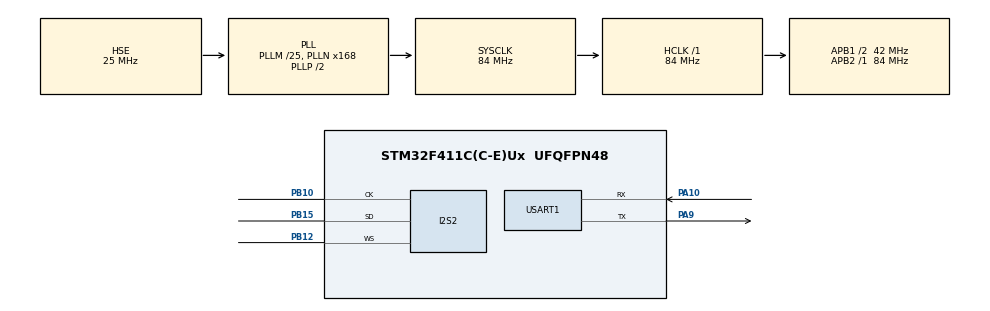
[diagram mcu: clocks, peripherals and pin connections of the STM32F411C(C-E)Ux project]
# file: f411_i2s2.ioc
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Dma.Request0=SPI2_TX
Dma.SPI2_TX.0.Direction=DMA_MEMORY_TO_PERIPH
Dma.SPI2_TX.0.FIFOMode=DMA_FIFOMODE_DISABLE
Dma.SPI2_TX.0.Instance=DMA1_Stream4
Dma.SPI2_TX.0.MemDataAlignment=DMA_MDATAALIGN_HALFWORD
Dma.SPI2_TX.0.MemInc=DMA_MINC_ENABLE
Dma.SPI2_TX.0.Mode=DMA_NORMAL
Dma.SPI2_TX.0.PeriphDataAlignment=DMA_PDATAALIGN_HALFWORD
Dma.SPI2_TX.0.PeriphInc=DMA_PINC_DISABLE
Dma.SPI2_TX.0.Priority=DMA_PRIORITY_VERY_HIGH
I2S2.ErrorAudioFreq=0.0 %
I2S2.FullDuplexMode=I2S_FULLDUPLEXMODE_DISABLE
I2S2.Instance=SPI$Index
I2S2.RealAudioFreq=8.0 KHz
I2S2.VirtualMode=I2S_MODE_MASTER
Mcu.Family=STM32F4
Mcu.Name=STM32F411C(C-E)Ux
Mcu.Package=UFQFPN48
NVIC.DMA1_Stream4_IRQn=true\:0\:0\:false\:false\:true\:false\:true
NVIC.PriorityGroup=NVIC_PRIORITYGROUP_4
NVIC.SPI2_IRQn=true\:0\:0\:false\:false\:true\:true\:true
PA10.Mode=Asynchronous
PA10.Signal=USART1_RX
PA9.Mode=Asynchronous
PA9.Signal=USART1_TX
PB10.Mode=Half_Duplex_Master
PB10.Signal=I2S2_CK
PB12.Mode=Half_Duplex_Master
PB12.Signal=I2S2_WS
PB15.Mode=Half_Duplex_Master
PB15.Signal=I2S2_SD
PC14-OSC32_IN.Mode=LSE-External-Oscillator
PC14-OSC32_IN.Signal=RCC_OSC32_IN
PC15-OSC32_OUT.Mode=LSE-External-Oscillator
PC15-OSC32_OUT.Signal=RCC_OSC32_OUT
PH0\ -\ OSC_IN.Mode=HSE-External-Oscillator
PH0\ -\ OSC_IN.Signal=RCC_OSC_IN
PH1\ -\ OSC_OUT.Mode=HSE-External-Oscillator
PH1\ -\ OSC_OUT.Signal=RCC_OSC_OUT
ProjectManager.HeapSize=0x200
ProjectManager.StackSize=0x400
ProjectManager.TargetToolchain=STM32CubeIDE
RCC.48MHZClocksFreq_Value=42000000
RCC.AHBFreq_Value=84000000
RCC.APB1CLKDivider=RCC_HCLK_DIV2
RCC.APB1Freq_Value=42000000
RCC.APB1TimFreq_Value=84000000
RCC.APB2Freq_Value=84000000
RCC.APB2TimFreq_Value=84000000
RCC.CortexFreq_Value=84000000
RCC.HCLKFreq_Value=84000000
RCC.HSE_VALUE=25000000
RCC.HSI_VALUE=16000000
RCC.PLLI2SM=25
RCC.PLLM=25
RCC.PLLN=168
RCC.PLLSourceVirtual=RCC_PLLSOURCE_HSE
RCC.SYSCLKFreq_VALUE=84000000
RCC.SYSCLKSource=RCC_SYSCLKSOURCE_PLLCLK
RCC.VCOOutputFreq_Value=168000000
RCC.VDD_VALUE=3.6
USART1.VirtualMode=VM_ASYNC
board=custom

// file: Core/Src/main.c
/* USER CODE BEGIN Header */
/**
  ******************************************************************************
  * @file           : main.c
  * @brief          : Main program body
  ******************************************************************************
  * @attention
  *
  * Copyright (c) 2023 STMicroelectronics.
  * All rights reserved.
  *
  * This software is licensed under terms that can be found in the LICENSE file
  * in the root directory of this software component.
  * If no LICENSE file comes with this software, it is provided AS-IS.
  *
  ******************************************************************************
  */
/* USER CODE END Header */
#include "main.h"

I2S_HandleTypeDef hi2s2;
DMA_HandleTypeDef hdma_spi2_tx;

UART_HandleTypeDef huart1;

void SystemClock_Config(void);
static void MX_GPIO_Init(void);
static void MX_USART1_UART_Init(void);
static void MX_DMA_Init(void);
static void MX_I2S2_Init(void);

/* USER CODE BEGIN 0 */
#include "ogg/ivorbiscodec.h"
#include "ogg/ivorbisfile.h"
void Serialprint(const char *c)
{
	 HAL_UART_Transmit(&huart1, c, strlen(c),100);
}
void Serialprintlong(long n)
{
	 char c[10];
	 sprintf(c, "%lu", n);
	 Serialprint(c);

}

void Serialprinthex(long n)
{
	 char c[10];
	 sprintf(c, "%4x", n);
	 Serialprint(c);

}

/* USER CODE BEGIN PV */

//Tx Transfer Half completed callbacks.

 char dma_run=0;

 /* USER CODE END 0 */

int main(void)
{

  /* MCU Configuration--------------------------------------------------------*/

  /* Reset of all peripherals, Initializes the Flash interface and the Systick. */
  HAL_Init();

  /* Configure the system clock */
  SystemClock_Config();

  /* Initialize all configured peripherals */
  MX_GPIO_Init();
  MX_USART1_UART_Init();
  MX_DMA_Init();
  MX_I2S2_Init();
  /* USER CODE BEGIN 2 */

#include "myaudio.h"

Serialprint("Start.\n\r");

  OggVorbis_File vf;
  int current_section;

  /* USER CODE END 2 */

  /* Infinite loop */
  /* USER CODE BEGIN WHILE */
  uint16_t *buf;
  uint16_t pcmout_audio[2048*4];

  buf=malloc(sizeof(pcmout_audio));
  char ifdma=0;
while (1)
  {
      FILE *f;
      f=fmemopen(file_ogg, sizeof(file_ogg), "r"); //open file from mem
//      f=fopen(file_ogg, "\play.ogg", "r"); //open file from file system
	  if(ov_open(f, &vf, NULL, 0) < 0) {
	      Serialprint("Input does not appear to be an Ogg bitstream.\n\r\r");
	      exit(1);
	  }
	    Serialprint("opn okm.\n\r\r");
	    char **ptr=ov_comment(&vf,-1)->user_comments;
	    vorbis_info *vi=ov_info(&vf,-1);

	    Serialprintlong(vi->channels);Serialprint(":channels\r\n");
	    Serialprintlong(vi->rate);	    Serialprint(":rate\r\n");
	    Serialprintlong( (long)ov_pcm_total(&vf,-1));
	    Serialprint(":pcm_total\r\n");
	    Serialprint((long)ov_comment(&vf,-1)->vendor);
	    Serialprint("\r\nOgg file OK\r\n");

	    {

	       Serialprint(":strart play\r\n");
	       uint16_t pcmout[1024];

	 	   long len_oggread=0;
	 	   while(1)
	 	     {
	 		      long len=0;
				  while ((sizeof(pcmout_audio)>>1)-len>=len_oggread)
				   {

					  if (len_oggread>0)
					  	{

						  if (vi->channels==2) //if stereo
						  {
							memcpy(pcmout_audio+len,pcmout,len_oggread*2);
							len+=len_oggread;
						  }else
							  {

							   long level=0;
							   for (long i=0;i<len_oggread;i++)
								{
								  if(level<pcmout[i])level=pcmout[i];

								}

							   for (long i=0;i<len_oggread;i++)
								{
								  pcmout_audio[i*2+len]=(0xffff/level*pcmout[i]);
								  pcmout_audio[i*2+1+len]=(0xffff/level*pcmout[i]);
								  /*
								  Serialprintlong(pcmout[i]);
								  Serialprint("::");
								  Serialprintlong(pcmout_audio[i*2+len]);
								  Serialprint("\r\n");*/
								}
							   len+=len_oggread*2;
							  }
					  	}
					  len_oggread=ov_read(&vf,pcmout,sizeof(pcmout)<<1,&current_section);
					  if (len_oggread>0)
					   {
						len_oggread=len_oggread>>1;;//if not stereo
					    if ((sizeof(pcmout_audio)>>1)-len<len_oggread)break;
					   }else  if(len_oggread==0)break;
				 }
               if(len>0)
                 {
            	  if (ifdma==1)
            	   {
    	 	        while (dma_run!=0)HAL_Delay(1);
    	 	        dma_run=1;
    	 	        memcpy(buf,pcmout_audio,len*2);
 	    	        HAL_I2S_Transmit_DMA(&hi2s2,buf,len);//sizeof(pcmout_audio)/2);
                 }else
            	  {
	 	              while (HAL_I2S_GetState(&hi2s2)!=HAL_I2S_STATE_READY)HAL_Delay(1);
	                  HAL_I2S_Transmit(&hi2s2,pcmout_audio,len,10);

                 }
            	  len=0;
                 }else break;
	 	     }
	 	ov_clear(&vf);
	 	fclose(f);

	    Serialprint(":end play\r\n");
	    HAL_Delay(1000);

	}
    /* USER CODE END WHILE */

  }
}

void SystemClock_Config(void)
{
  RCC_OscInitTypeDef RCC_OscInitStruct = {0};
  RCC_ClkInitTypeDef RCC_ClkInitStruct = {0};

  /** Configure the main internal regulator output voltage
  */
  __HAL_RCC_PWR_CLK_ENABLE();
  __HAL_PWR_VOLTAGESCALING_CONFIG(PWR_REGULATOR_VOLTAGE_SCALE1);
  /** Initializes the RCC Oscillators according to the specified parameters
  * in the RCC_OscInitTypeDef structure.
  */
  RCC_OscInitStruct.OscillatorType = RCC_OSCILLATORTYPE_HSE;
  RCC_OscInitStruct.HSEState = RCC_HSE_ON;
  RCC_OscInitStruct.PLL.PLLState = RCC_PLL_ON;
  RCC_OscInitStruct.PLL.PLLSource = RCC_PLLSOURCE_HSE;
  RCC_OscInitStruct.PLL.PLLM = 25;
  RCC_OscInitStruct.PLL.PLLN = 168;
  RCC_OscInitStruct.PLL.PLLP = RCC_PLLP_DIV2;
  RCC_OscInitStruct.PLL.PLLQ = 4;
  if (HAL_RCC_OscConfig(&RCC_OscInitStruct) != HAL_OK)
  {
    Error_Handler();
  }
  /** Initializes the CPU, AHB and APB buses clocks
  */
  RCC_ClkInitStruct.ClockType = RCC_CLOCKTYPE_HCLK|RCC_CLOCKTYPE_SYSCLK
                              |RCC_CLOCKTYPE_PCLK1|RCC_CLOCKTYPE_PCLK2;
  RCC_ClkInitStruct.SYSCLKSource = RCC_SYSCLKSOURCE_PLLCLK;
  RCC_ClkInitStruct.AHBCLKDivider = RCC_SYSCLK_DIV1;
  RCC_ClkInitStruct.APB1CLKDivider = RCC_HCLK_DIV2;
  RCC_ClkInitStruct.APB2CLKDivider = RCC_HCLK_DIV1;

  if (HAL_RCC_ClockConfig(&RCC_ClkInitStruct, FLASH_LATENCY_2) != HAL_OK)
  {
    Error_Handler();
  }
}

static void MX_I2S2_Init(void)
{

  hi2s2.Instance = SPI2;
  hi2s2.Init.Mode = I2S_MODE_MASTER_TX;
  hi2s2.Init.Standard = I2S_STANDARD_PHILIPS;
  hi2s2.Init.DataFormat = I2S_DATAFORMAT_16B;
  hi2s2.Init.MCLKOutput = I2S_MCLKOUTPUT_DISABLE;
  hi2s2.Init.AudioFreq = I2S_AUDIOFREQ_8K;
  hi2s2.Init.CPOL = I2S_CPOL_LOW;
  hi2s2.Init.ClockSource = I2S_CLOCK_PLL;
  hi2s2.Init.FullDuplexMode = I2S_FULLDUPLEXMODE_DISABLE;
  if (HAL_I2S_Init(&hi2s2) != HAL_OK)
  {
    Error_Handler();
  }

}

static void MX_USART1_UART_Init(void)
{

  huart1.Instance = USART1;
  huart1.Init.BaudRate = 115200;
  huart1.Init.WordLength = UART_WORDLENGTH_8B;
  huart1.Init.StopBits = UART_STOPBITS_1;
  huart1.Init.Parity = UART_PARITY_NONE;
  huart1.Init.Mode = UART_MODE_TX_RX;
  huart1.Init.HwFlowCtl = UART_HWCONTROL_NONE;
  huart1.Init.OverSampling = UART_OVERSAMPLING_16;
  if (HAL_UART_Init(&huart1) != HAL_OK)
  {
    Error_Handler();
  }

}

static void MX_DMA_Init(void)
{

  /* DMA controller clock enable */
  __HAL_RCC_DMA1_CLK_ENABLE();

  /* DMA interrupt init */
  /* DMA1_Stream4_IRQn interrupt configuration */
  HAL_NVIC_SetPriority(DMA1_Stream4_IRQn, 0, 0);
  HAL_NVIC_EnableIRQ(DMA1_Stream4_IRQn);

}

static void MX_GPIO_Init(void)
{

  /* GPIO Ports Clock Enable */
  __HAL_RCC_GPIOC_CLK_ENABLE();
  __HAL_RCC_GPIOH_CLK_ENABLE();
  __HAL_RCC_GPIOB_CLK_ENABLE();
  __HAL_RCC_GPIOA_CLK_ENABLE();

}

/* USER CODE BEGIN 4 */
void HAL_I2S_TxHalfCpltCallback (I2S_HandleTypeDef *hi2s)
{
	if(hi2s=&hi2s2)
		{
			dma_run+=2;
		}
   	}
//Tx Transfer completed callbacks
void HAL_I2S_TxCpltCallback (I2S_HandleTypeDef *hi2s)
{
	if(hi2s=&hi2s2)
		{
		   dma_run=0;
		}

   	}
/* USER CODE END 4 */

void Error_Handler(void)
{
  __disable_irq();
  while (1)
  {
  }
}
